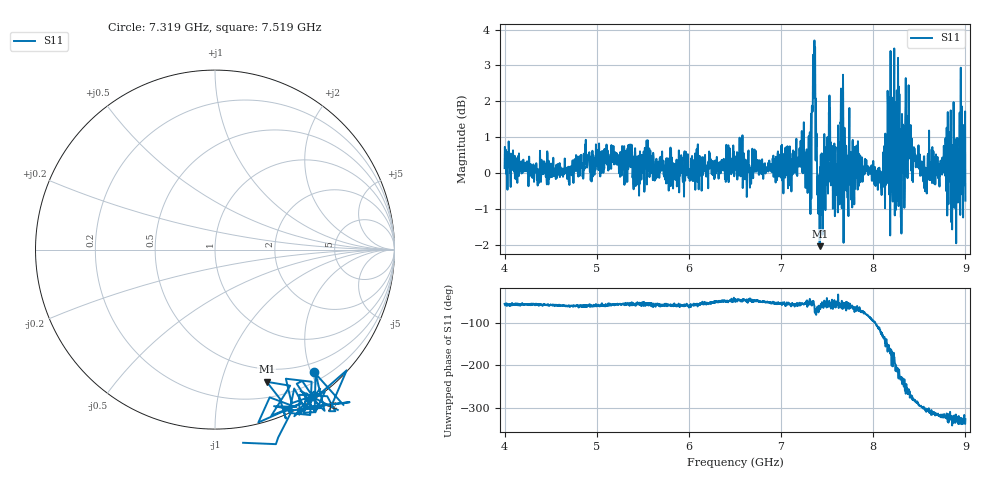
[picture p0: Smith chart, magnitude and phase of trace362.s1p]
! Created with skrf 1.8.0 (http://scikit-rf.org).
# Hz S RI R 50.0
!freq ReS11 ImS11
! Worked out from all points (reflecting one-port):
!   1601 points, 4 GHz to 9 GHz, reference 50 ohm
!   lowest |S11| = -2.0 dB at 7.419 GHz (marker M1), VSWR 8.56, Z = 17.9 - j70.2 ohm
!   phase of S11 starts at -56 deg and turns -269 deg over the sweep
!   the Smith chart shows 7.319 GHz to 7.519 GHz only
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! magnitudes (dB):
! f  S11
! 4 GHz  0.1
! 4.625 GHz  -0.1
! 5.25 GHz  0.0
! 5.875 GHz  -0.1
! 6.5 GHz  0.2
! 7.125 GHz  0.6
! 7.294 GHz  0.3
! 7.359 GHz  3.2
! 7.372 GHz  1.9
! 7.397 GHz  -0.1
! 7.419 GHz  -2.0
! 7.519 GHz  1.7
! 7.591 GHz  0.7
! 7.669 GHz  1.0
! 7.703 GHz  0.6
! 7.75 GHz  0.1
! 7.822 GHz  0.6
! 8.103 GHz  0.0
! 8.203 GHz  1.4
! 8.316 GHz  0.3
! 8.334 GHz  1.3
! 8.375 GHz  1.4
! 8.425 GHz  0.4
! 8.556 GHz  -0.4
! 8.822 GHz  0.7
! 8.875 GHz  1.0
! 8.972 GHz  0.7
! 9 GHz  -0.8
